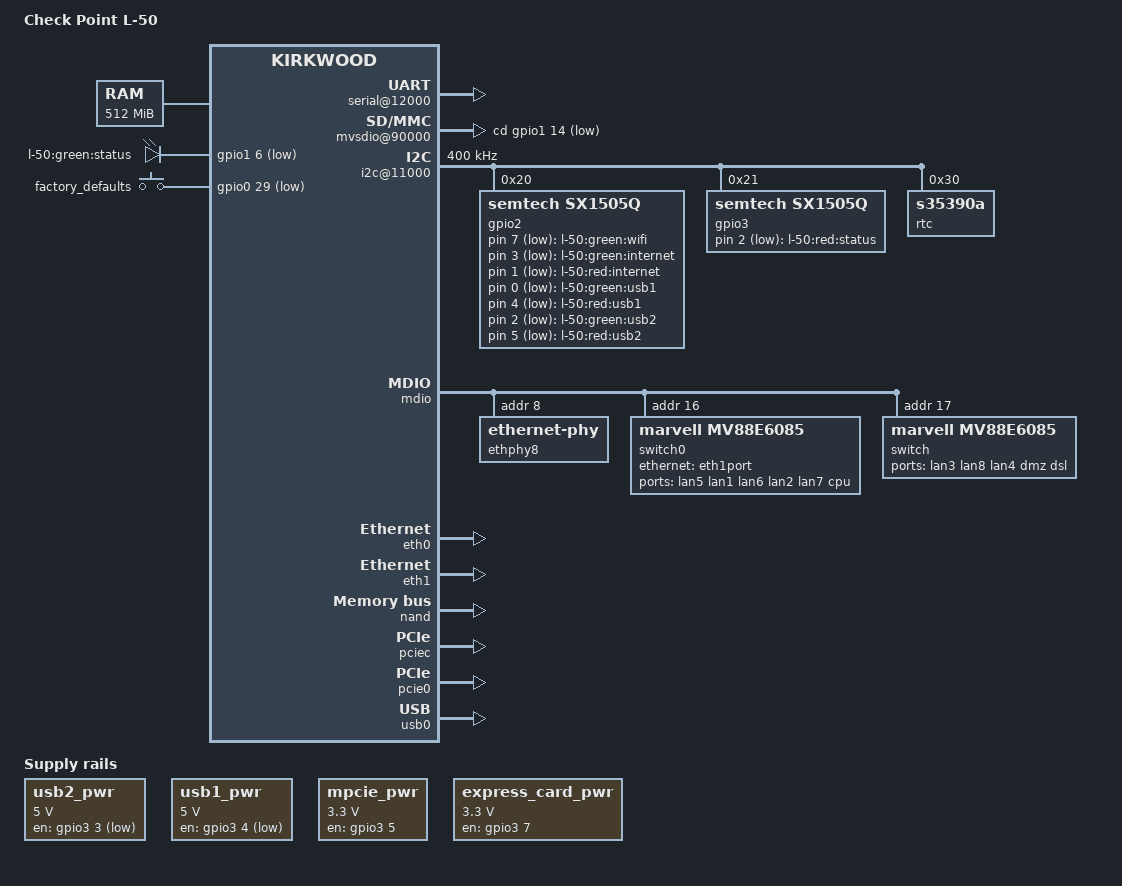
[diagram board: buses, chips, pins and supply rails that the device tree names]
// SPDX-License-Identifier: GPL-2.0
/*
 * Check Point L-50 Board Description
 * Copyright 2020 Pawel Dembicki <paweldembicki@gmail.com>
 */

/dts-v1/;

#include "kirkwood.dtsi"
#include "kirkwood-6281.dtsi"

/ {
	model = "Check Point L-50";
	compatible = "checkpoint,l-50", "marvell,kirkwood-88f6281", "marvell,kirkwood";

	memory {
		device_type = "memory";
		reg = <0x00000000 0x20000000>;
	};

	chosen {
		bootargs = "console=ttyS0,115200n8";
		stdout-path = &uart0;
	};

	ocp@f1000000 {
		pinctrl: pin-controller@10000 {
			pinctrl-0 = <&pmx_led38 &pmx_sysrst &pmx_button29>;
			pinctrl-names = "default";

			pmx_sysrst: pmx-sysrst {
				marvell,pins = "mpp6";
				marvell,function = "sysrst";
			};

			pmx_button29: pmx_button29 {
				marvell,pins = "mpp29";
				marvell,function = "gpio";
			};

			pmx_led38: pmx_led38 {
				marvell,pins = "mpp38";
				marvell,function = "gpio";
			};

			pmx_sdio_cd: pmx-sdio-cd {
				marvell,pins = "mpp46";
				marvell,function = "gpio";
			};
		};

		serial@12000 {
			status = "okay";
		};

		mvsdio@90000 {
			status = "okay";
			cd-gpios = <&gpio1 14 9>;
		};

		i2c@11000 {
			status = "okay";
			clock-frequency = <400000>;

			gpio2: gpio-expander@20{
				#gpio-cells = <2>;
				#interrupt-cells = <2>;
				compatible = "semtech,sx1505q";
				reg = <0x20>;

				gpio-controller;
			};

			/* Three GPIOs from 0x21 exp. are undescribed in dts:
			 * 1: DSL module reset (active low)
			 * 5: mPCIE reset (active low)
			 * 6: Express card reset (active low)
			 */
			gpio3: gpio-expander@21{
				#gpio-cells = <2>;
				#interrupt-cells = <2>;
				compatible = "semtech,sx1505q";
				reg = <0x21>;

				gpio-controller;
			};

			rtc@30 {
				compatible = "s35390a";
				reg = <0x30>;
			};
		};
	};

	leds {
		compatible = "gpio-leds";

		status_green {
			label = "l-50:green:status";
			gpios = <&gpio1 6 GPIO_ACTIVE_LOW>;
		};

		status_red {
			label = "l-50:red:status";
			gpios = <&gpio3 2 GPIO_ACTIVE_LOW>;
		};

		wifi {
			label = "l-50:green:wifi";
			gpios = <&gpio2 7 GPIO_ACTIVE_LOW>;
			linux,default-trigger = "phy0tpt";
		};

		internet_green {
			label = "l-50:green:internet";
			gpios = <&gpio2 3 GPIO_ACTIVE_LOW>;
		};

		internet_red {
			label = "l-50:red:internet";
			gpios = <&gpio2 1 GPIO_ACTIVE_LOW>;
		};

		usb1_green {
			label = "l-50:green:usb1";
			gpios = <&gpio2 0 GPIO_ACTIVE_LOW>;
			linux,default-trigger = "usbport";
			trigger-sources = <&hub_port3>;
		};

		usb1_red {
			label = "l-50:red:usb1";
			gpios = <&gpio2 4 GPIO_ACTIVE_LOW>;
		};

		usb2_green {
			label = "l-50:green:usb2";
			gpios = <&gpio2 2 GPIO_ACTIVE_LOW>;
			linux,default-trigger = "usbport";
			trigger-sources = <&hub_port1>;
		};

		usb2_red {
			label = "l-50:red:usb2";
			gpios = <&gpio2 5 GPIO_ACTIVE_LOW>;
		};
	};

	usb2_pwr {
		compatible = "regulator-fixed";
		regulator-name = "usb2_pwr";

		regulator-min-microvolt = <5000000>;
		regulator-max-microvolt = <5000000>;
		gpio = <&gpio3 3 GPIO_ACTIVE_LOW>;
		regulator-always-on;
	};

	usb1_pwr {
		compatible = "regulator-fixed";
		regulator-name = "usb1_pwr";

		regulator-min-microvolt = <5000000>;
		regulator-max-microvolt = <5000000>;
		gpio = <&gpio3 4 GPIO_ACTIVE_LOW>;
		regulator-always-on;
	};

	mpcie_pwr {
		compatible = "regulator-fixed";
		regulator-name = "mpcie_pwr";

		regulator-min-microvolt = <3300000>;
		regulator-max-microvolt = <3300000>;
		gpio = <&gpio3 5 GPIO_ACTIVE_HIGH>;
		enable-active-high;
		regulator-always-on;
	};

	express_card_pwr {
		compatible = "regulator-fixed";
		regulator-name = "express_card_pwr";

		regulator-min-microvolt = <3300000>;
		regulator-max-microvolt = <3300000>;
		gpio = <&gpio3 7 GPIO_ACTIVE_HIGH>;
		enable-active-high;
		regulator-always-on;
	};

	keys {
		compatible = "gpio-keys";

		factory_defaults {
			label = "factory_defaults";
			gpios = <&gpio0 29 GPIO_ACTIVE_LOW>;
			linux,code = <KEY_RESTART>;
		};
	};
};

&mdio {
	status = "okay";

	ethphy8: ethernet-phy@8 {
		reg = <0x08>;
	};

	switch0: switch@10 {
		compatible = "marvell,mv88e6085";
		#address-cells = <1>;
		#size-cells = <0>;
		reg = <0x10>;
		dsa,member = <0 0>;

		ports {
			#address-cells = <1>;
			#size-cells = <0>;

			port@0 {
				reg = <0>;
				label = "lan5";
			};

			port@1 {
			       reg = <1>;
			       label = "lan1";
			};

			port@2 {
			       reg = <2>;
			       label = "lan6";
			};

			port@3 {
			       reg = <3>;
			       label = "lan2";
			};

			port@4 {
				reg = <4>;
				label = "lan7";
			};

			switch0port5: port@5 {
				reg = <5>;
				phy-mode = "rgmii-txid";
				link = <&switch1port5>;
				fixed-link {
					speed = <1000>;
					full-duplex;
				};
			};

			port@6 {
				reg = <6>;
				label = "cpu";
				phy-mode = "rgmii-id";
				ethernet = <&eth1port>;
				fixed-link {
					speed = <1000>;
					full-duplex;
				};
			};
		};
	};

	switch@11 {
		compatible = "marvell,mv88e6085";
		#address-cells = <1>;
		#size-cells = <0>;
		reg = <0x11>;
		dsa,member = <0 1>;

		ports {
			#address-cells = <1>;
			#size-cells = <0>;

			port@0 {
				reg = <0>;
				label = "lan3";
			};

			port@1 {
			       reg = <1>;
			       label = "lan8";
			};

			port@2 {
			       reg = <2>;
			       label = "lan4";
			};

			port@3 {
			       reg = <3>;
			       label = "dmz";
			};

			switch1port5: port@5 {
				reg = <5>;
				phy-mode = "rgmii-txid";
				link = <&switch0port5>;
				fixed-link {
					speed = <1000>;
					full-duplex;
				};
			};

			port@6 {
				reg = <6>;
				label = "dsl";
				fixed-link {
					speed = <100>;
					full-duplex;
				};
			};
		};
	};
};

&eth0 {
	status = "okay";
	ethernet0-port@0 {
		phy-handle = <&ethphy8>;
	};
};

&eth1 {
	status = "okay";
	ethernet1-port@0 {
		speed = <1000>;
		duplex = <1>;
	};
};

&nand {
	status = "okay";
	pinctrl-0 = <&pmx_nand>;
	pinctrl-names = "default";

	partition@0 {
		label = "u-boot";
		reg = <0x00000000 0x000c0000>;
	};

	partition@a0000 {
		label = "bootldr-env";
		reg = <0x000c0000 0x00040000>;
	};

	partition@100000 {
		label = "kernel-1";
		reg = <0x00100000 0x00800000>;
	};

	partition@900000 {
		label = "rootfs-1";
		reg = <0x00900000 0x07100000>;
	};

	partition@7a00000 {
		label = "kernel-2";
		reg = <0x07a00000 0x00800000>;
	};

	partition@8200000 {
		label = "rootfs-2";
		reg = <0x08200000 0x07100000>;
	};

	partition@f300000 {
		label = "default_sw";
		reg = <0x0f300000 0x07900000>;
	};

	partition@16c00000 {
		label = "logs";
		reg = <0x16c00000 0x01800000>;
	};

	partition@18400000 {
		label = "preset_cfg";
		reg = <0x18400000 0x00100000>;
	};

	partition@18500000 {
		label = "adsl";
		reg = <0x18500000 0x00100000>;
	};

	partition@18600000 {
		label = "storage";
		reg = <0x18600000 0x07a00000>;
	};
};

&rtc {
	status = "disabled";
};

&pciec {
	status = "okay";
};

&pcie0 {
	status = "okay";
};

&sata_phy0 {
	status = "disabled";
};

&sata_phy1 {
	status = "disabled";
};

&usb0 {
	#address-cells = <1>;
	#size-cells = <0>;
	status = "okay";

	port@1 {
		#address-cells = <1>;
		#size-cells = <0>;
		reg = <1>;
		#trigger-source-cells = <0>;

		hub_port1: port@1 {
			reg = <1>;
			#trigger-source-cells = <0>;
		};

		hub_port3: port@3 {
			reg = <3>;
			#trigger-source-cells = <0>;
		};
	};
};
